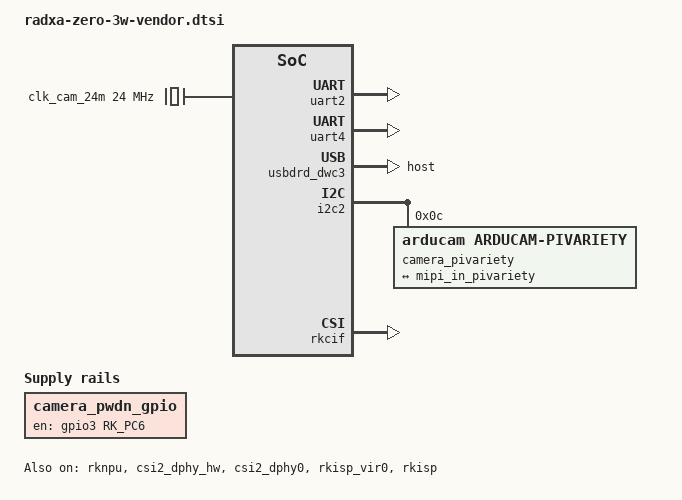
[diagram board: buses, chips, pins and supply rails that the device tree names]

/*
 * Board adjustments on top of Radxa's rk3566-radxa-zero-3w-aic8800ds2.dts,
 * appended by linux-radxa_6.1.bb.
 */

/* Serial console on ttyS2 1500000 like the mainline image (Radxa leaves it off). */
&uart2 {
    status = "okay";
};

/*
 * Flight controller MAVLink on ttyS4 (UART4-M1, header pin 16 RX, pin 18 TX).
 * The SoC dtsi defaults to the M0 pins, which aren't on the header.
 */
&uart4 {
    pinctrl-names = "default";
    pinctrl-0 = <&uart4m1_xfer>;
    status = "okay";
};

/*
 * Wi-Fi on the external antenna connector (U.FL) instead of the onboard chip antenna.
 * The RF switch is held by board_antenna: the vendor dts drives GPIO3_D3 low (onboard),
 * Radxa's radxa-zero3-external-antenna overlay drives GPIO3_D2 low instead. Same here.
 * Off for now: the onboard Wi-Fi uses the chip antenna, both external antennas go to
 * the RTL8812EU (wfb-ng video). Uncomment to switch back.
 */
// &board_antenna {
//     gpio = <&gpio3 RK_PD2 GPIO_ACTIVE_LOW>;
// };
//
// &ant_1 {
//     rockchip,pins = <3 RK_PD2 RK_FUNC_GPIO &pcfg_pull_down>;
// };

/* NPU and its IOMMU are disabled in the vendor dtsi (Radxa enables them with an overlay). */
&rknpu {
    status = "okay";
};

&rknpu_mmu {
    status = "okay";
};

/*
 * Default CMA area, also exported as /dev/dma_heap/linux,cma (preprocessing output).
 * Below 4 GiB for 32-bit DMA masters (0xf0000000+ is MMIO).
 */
&reserved_memory {
    linux,cma {
        compatible = "shared-dma-pool";
        reusable;
        size = <0x0 0x8000000>; /* 128 MiB */
        alloc-ranges = <0x0 0x0 0x0 0xf0000000>;
        linux,cma-default;
    };
};

/*
 * USB 2.0 OTG Type-C port as host (USB camera). Radxa leaves it in "otg" with the role
 * taken from the PHY's ID/VBUS detection, which ends up as peripheral on this board.
 * The board is powered from the header, so the port isn't needed for power or gadget mode.
 */
&usbdrd_dwc3 {
    dr_mode = "host";
};

/*
 * Arducam IMX462 Pivariety module (2 MIPI lanes) on the 22-pin CSI connector. An MCU on
 * the module (I2C2-M1, address 0x0c) runs the sensor, configured like Raspberry Pi's
 * arducam-pivariety overlay. Power switched by GPIO3_C6, CSI D-PHY straight into the ISP.
 * The ISP output is the video node named rkisp_mainpath (/dev/video-camera0).
 */
/ {
    /* The driver wants a 24 MHz xclk, the module has its own oscillator. */
    clk_cam_24m: external-camera-clock-24m {
        compatible = "fixed-clock";
        clock-frequency = <24000000>;
        clock-output-names = "clk_cam_24m";
        #clock-cells = <0>;
    };

    camera_pwdn_gpio: camera-pwdn-gpio {
        compatible = "regulator-fixed";
        regulator-name = "camera_pwdn_gpio";
        regulator-always-on;
        regulator-boot-on;
        enable-active-high;
        gpio = <&gpio3 RK_PC6 GPIO_ACTIVE_HIGH>;
    };
};

&i2c2 {
    status = "okay";
    pinctrl-names = "default";
    pinctrl-0 = <&i2c2m1_xfer>;
    #address-cells = <1>;
    #size-cells = <0>;

    camera_pivariety: camera-pivariety@c {
        compatible = "arducam,arducam-pivariety";
        reg = <0x0c>;
        clocks = <&clk_cam_24m>;
        clock-names = "xclk";

        port {
            pivariety_out0: endpoint {
                remote-endpoint = <&mipi_in_pivariety>;
                data-lanes = <1 2>;
                clock-noncontinuous;
                /* Same as the Raspberry Pi overlay; sets the D-PHY timing and ISP clock. */
                link-frequencies = /bits/ 64 <493500000>;
            };
        };
    };
};

&csi2_dphy_hw {
    status = "okay";
};

&csi2_dphy0 {
    status = "okay";

    ports {
        #address-cells = <1>;
        #size-cells = <0>;

        port@0 {
            reg = <0>;
            #address-cells = <1>;
            #size-cells = <0>;

            mipi_in_pivariety: endpoint@1 {
                reg = <1>;
                remote-endpoint = <&pivariety_out0>;
                data-lanes = <1 2>;
            };
        };

        port@1 {
            reg = <1>;
            #address-cells = <1>;
            #size-cells = <0>;

            dphy0_out: endpoint@1 {
                reg = <1>;
                remote-endpoint = <&isp0_in>;
            };
        };
    };
};

&rkisp_vir0 {
    status = "okay";

    port {
        #address-cells = <1>;
        #size-cells = <0>;

        isp0_in: endpoint@0 {
            reg = <0>;
            remote-endpoint = <&dphy0_out>;
        };
    };
};

&rkisp {
    status = "okay";
};

&rkisp_mmu {
    status = "okay";
};

&rkcif {
    status = "okay";
};

&rkcif_mmu {
    status = "okay";
};
